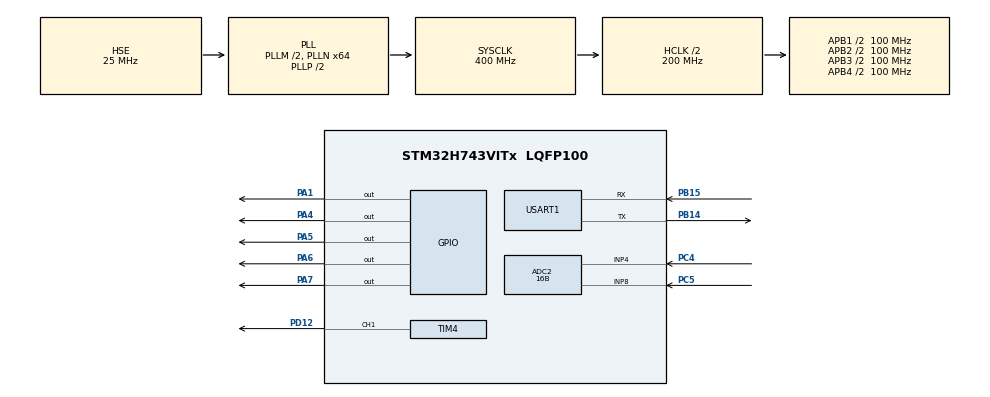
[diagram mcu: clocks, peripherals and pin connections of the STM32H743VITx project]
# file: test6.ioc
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ADC2.Channel-0\#ChannelRegularConversion=ADC_CHANNEL_4
ADC2.Channel-3\#ChannelRegularConversion=ADC_CHANNEL_8
ADC2.ClockPrescaler=ADC_CLOCK_ASYNC_DIV2
ADC2.ConversionDataManagement=ADC_CONVERSIONDATA_DMA_CIRCULAR
ADC2.EOCSelection=ADC_EOC_SEQ_CONV
ADC2.ExternalTrigConv=ADC_EXTERNALTRIG_T3_TRGO
ADC2.ExternalTrigConvEdge=ADC_EXTERNALTRIGCONVEDGE_RISINGFALLING
ADC2.NbrOfConversion=2
ADC2.NbrOfConversionFlag=1
ADC2.OffsetNumber-0\#ChannelRegularConversion=ADC_OFFSET_NONE
ADC2.OffsetNumber-3\#ChannelRegularConversion=ADC_OFFSET_NONE
ADC2.OffsetSignedSaturation-0\#ChannelRegularConversion=DISABLE
ADC2.OffsetSignedSaturation-3\#ChannelRegularConversion=DISABLE
ADC2.Rank-0\#ChannelRegularConversion=1
ADC2.Rank-3\#ChannelRegularConversion=2
ADC2.Resolution=ADC_RESOLUTION_16B
ADC2.SamplingTime-0\#ChannelRegularConversion=ADC_SAMPLETIME_2CYCLES_5
ADC2.SamplingTime-3\#ChannelRegularConversion=ADC_SAMPLETIME_2CYCLES_5
CORTEX_M7.CPU_DCache=Enabled
CORTEX_M7.CPU_ICache=Enabled
CORTEX_M7.Enable-Cortex_Memory_Protection_Unit_Region0_Settings=__NULL
CORTEX_M7.MPU_Control=MPU_PRIVILEGED_DEFAULT
Dma.ADC2.0.Direction=DMA_PERIPH_TO_MEMORY
Dma.ADC2.0.EventEnable=DISABLE
Dma.ADC2.0.FIFOMode=DMA_FIFOMODE_DISABLE
Dma.ADC2.0.Instance=DMA1_Stream0
Dma.ADC2.0.MemDataAlignment=DMA_MDATAALIGN_WORD
Dma.ADC2.0.MemInc=DMA_MINC_ENABLE
Dma.ADC2.0.Mode=DMA_CIRCULAR
Dma.ADC2.0.PeriphDataAlignment=DMA_PDATAALIGN_WORD
Dma.ADC2.0.PeriphInc=DMA_PINC_DISABLE
Dma.ADC2.0.Polarity=HAL_DMAMUX_REQ_GEN_RISING
Dma.ADC2.0.Priority=DMA_PRIORITY_LOW
Dma.ADC2.0.RequestNumber=1
Dma.ADC2.0.SignalID=NONE
Dma.ADC2.0.SyncEnable=DISABLE
Dma.ADC2.0.SyncPolarity=HAL_DMAMUX_SYNC_NO_EVENT
Dma.ADC2.0.SyncRequestNumber=1
Dma.ADC2.0.SyncSignalID=NONE
Dma.Request0=ADC2
Mcu.Family=STM32H7
Mcu.Name=STM32H743VITx
Mcu.Package=LQFP100
NVIC.ADC_IRQn=true\:0\:0\:false\:false\:true\:true\:true
NVIC.DMA1_Stream0_IRQn=true\:0\:0\:false\:false\:true\:false\:true
NVIC.PriorityGroup=NVIC_PRIORITYGROUP_4
NVIC.TIM3_IRQn=true\:0\:0\:false\:false\:true\:true\:true
NVIC.TIM4_IRQn=true\:0\:0\:false\:false\:true\:true\:true
NVIC.USART1_IRQn=true\:0\:0\:false\:false\:true\:true\:true
PA1.PinState=GPIO_PIN_RESET
PA1.Signal=GPIO_Output
PA4.Signal=GPIO_Output
PA5.Signal=GPIO_Output
PA6.Signal=GPIO_Output
PA7.Signal=GPIO_Output
PB14.Mode=Asynchronous
PB14.Signal=USART1_TX
PB15.Mode=Asynchronous
PB15.Signal=USART1_RX
PC4.Signal=ADCx_INP4
PC5.Signal=ADCx_INP8
PD12.Signal=S_TIM4_CH1
PH0-OSC_IN\ (PH0).Mode=HSE-External-Oscillator
PH0-OSC_IN\ (PH0).Signal=RCC_OSC_IN
PH1-OSC_OUT\ (PH1).Mode=HSE-External-Oscillator
PH1-OSC_OUT\ (PH1).Signal=RCC_OSC_OUT
ProjectManager.HeapSize=0x200
ProjectManager.StackSize=0x400
ProjectManager.TargetToolchain=MDK-ARM V5
RCC.ADCFreq_Value=72000000
RCC.APB1Freq_Value=100000000
RCC.APB2Freq_Value=100000000
RCC.APB3Freq_Value=100000000
RCC.APB4Freq_Value=100000000
RCC.CortexFreq_Value=400000000
RCC.D1PPRE=RCC_APB3_DIV2
RCC.D2PPRE1=RCC_APB1_DIV2
RCC.D2PPRE2=RCC_APB2_DIV2
RCC.D3PPRE=RCC_APB4_DIV2
RCC.DIVM1=2
RCC.DIVM2=25
RCC.DIVN1=64
RCC.DIVN2=504
RCC.DIVP2=7
RCC.HCLKFreq_Value=200000000
RCC.HPRE=RCC_HCLK_DIV2
RCC.PLL2FRACN=0
RCC.PLL3FRACN=0
RCC.PLLFRACN=0
RCC.PLLSourceVirtual=RCC_PLLSOURCE_HSE
RCC.PWR_Regulator_Voltage_Scale=PWR_REGULATOR_VOLTAGE_SCALE1
RCC.SYSCLKFreq_VALUE=400000000
RCC.SYSCLKSource=RCC_SYSCLKSOURCE_PLLCLK
RCC.USBFreq_Value=400000000
SH.ADCx_INP4.0=ADC2_INP4,IN4-Single-Ended
SH.ADCx_INP8.0=ADC2_INP8,IN8-Single-Ended
SH.S_TIM4_CH1.0=TIM4_CH1,PWM Generation1 CH1
TIM3.Period=99
TIM3.Prescaler=199
TIM3.TIM_MasterOutputTrigger=TIM_TRGO_UPDATE
TIM4.Channel-PWM\ Generation1\ CH1=TIM_CHANNEL_1
TIM4.Period=999
TIM4.Prescaler=199
USART1.VirtualMode-Asynchronous=VM_ASYNC
VP_TIM3_VS_ClockSourceINT.Mode=Internal
VP_TIM4_VS_ClockSourceINT.Mode=Internal
board=custom

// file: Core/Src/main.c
/* USER CODE BEGIN Header */
/**
  ******************************************************************************
  * @file           : main.c
  * @brief          : Main program body
  ******************************************************************************
  * @attention
  *
  * <h2><center>&copy; Copyright (c) 2021 STMicroelectronics.
  * All rights reserved.</center></h2>
  *
  * This software component is licensed by ST under BSD 3-Clause license,
  * the "License"; You may not use this file except in compliance with the
  * License. You may obtain a copy of the License at:
  *                        opensource.org/licenses/BSD-3-Clause
  *
  ******************************************************************************
  */
/* USER CODE END Header */
#include "main.h"
#include "adc.h"
#include "dma.h"
#include "tim.h"
#include "usart.h"
#include "gpio.h"

/* USER CODE BEGIN PTD */

/* DTCM内存的全局变量 */
uint32_t  ADC2DATA[2];

/* 内存0x38000000上的变量，给DMA搬运数据使用， */
ALIGN_32BYTES(__attribute__((section(".RAM_D3"))) uint32_t ADC2BUFF[4] );   /* 3个通道的数据 */

//#if defined ( __ICCARM__ )
//#pragma location = ".RAM_D3"
//ALIGN_32BYTES(uint32_t  ADC2DATA[2]);
//#elif defined ( __CC_ARM )
//ALIGN_32BYTES(__attribute__((section (".RAM_D3"))) uint32_t ADC2BUFF[4]);
//#endif

/* USER CODE END PTD */

void SystemClock_Config(void);
static void MPU_Config(void);

int main(void)
{
  /* USER CODE BEGIN 1 */
	uint16_t i=0;

  /* USER CODE END 1 */

  /* MPU Configuration--------------------------------------------------------*/
  MPU_Config();

  /* Enable I-Cache---------------------------------------------------------*/
  SCB_EnableICache();

  /* Enable D-Cache---------------------------------------------------------*/
  SCB_EnableDCache();

  /* MCU Configuration--------------------------------------------------------*/

  /* Reset of all peripherals, Initializes the Flash interface and the Systick. */
  HAL_Init();

  /* Configure the system clock */
  SystemClock_Config();

  /* Initialize all configured peripherals */
  MX_GPIO_Init();
  MX_DMA_Init();
  MX_ADC2_Init();
  MX_TIM3_Init();
  MX_USART1_UART_Init();
  MX_TIM4_Init();
  /* USER CODE BEGIN 2 */

	//FFTx4_init(0,1);

	AD9850_Serial_Reset();
	AD9850_Serial_Write(1000, 0x00);

	printf("AC\n");
	HAL_GPIO_WritePin(GPIOA,GPIO_PIN_1,GPIO_PIN_RESET);
	htim3.Init.Prescaler = 199;
	htim3.Init.Period = 49;
	HAL_TIM_Base_Init(&htim3);
	HAL_ADC_Start_DMA(&hadc2,(uint32_t*)ADC2BUFF,4);  /* 启动DMA搬运数据 */
  HAL_TIM_Base_Start_IT(&htim3);

	HAL_TIM_PWM_Start(&htim4,TIM_CHANNEL_1);
	__HAL_TIM_SET_COMPARE(&htim4, TIM_CHANNEL_1, 500);

  /* USER CODE END 2 */

  /* Infinite loop */
  /* USER CODE BEGIN WHILE */
  while (1)
  {
		HAL_Delay(10);
		if(myi == length){
			for(i=0;i<length;i++){
				printf("%lf\n",input[i]/65535*3.3);
			}
			//all_result_x4(input, Amp, rate, Phase,(uint32_t)(200000000/200/50));//????????????
			arm_rfft_f32_app(input, Amp, rate, Phase,(uint32_t)(200000000/200/100));
			printf("A:       F;    P\n");
		  HAL_Delay(1);
			for(i=0;i<length/2;i++){
				//printf("%.2f: %.2f: %.2f\n",Amp[i],rate[i],Phase[i]);//?????????????
				//printf("%.2lf,%.2lf,%ld\n",rate[i],(Amp[i]/65535*3.3),i);//?????????????
				HAL_Delay(1);
		  }
			myi++;
		}

    /* USER CODE END WHILE */

  }
}

void SystemClock_Config(void)
{
  RCC_OscInitTypeDef RCC_OscInitStruct = {0};
  RCC_ClkInitTypeDef RCC_ClkInitStruct = {0};

  /** Supply configuration update enable
  */
  HAL_PWREx_ConfigSupply(PWR_LDO_SUPPLY);
  /** Configure the main internal regulator output voltage
  */
  __HAL_PWR_VOLTAGESCALING_CONFIG(PWR_REGULATOR_VOLTAGE_SCALE1);

  while(!__HAL_PWR_GET_FLAG(PWR_FLAG_VOSRDY)) {}
  /** Macro to configure the PLL clock source
  */
  __HAL_RCC_PLL_PLLSOURCE_CONFIG(RCC_PLLSOURCE_HSE);
  /** Initializes the RCC Oscillators according to the specified parameters
  * in the RCC_OscInitTypeDef structure.
  */
  RCC_OscInitStruct.OscillatorType = RCC_OSCILLATORTYPE_HSE;
  RCC_OscInitStruct.HSEState = RCC_HSE_ON;
  RCC_OscInitStruct.PLL.PLLState = RCC_PLL_ON;
  RCC_OscInitStruct.PLL.PLLSource = RCC_PLLSOURCE_HSE;
  RCC_OscInitStruct.PLL.PLLM = 2;
  RCC_OscInitStruct.PLL.PLLN = 64;
  RCC_OscInitStruct.PLL.PLLP = 2;
  RCC_OscInitStruct.PLL.PLLQ = 2;
  RCC_OscInitStruct.PLL.PLLR = 2;
  RCC_OscInitStruct.PLL.PLLRGE = RCC_PLL1VCIRANGE_3;
  RCC_OscInitStruct.PLL.PLLVCOSEL = RCC_PLL1VCOWIDE;
  RCC_OscInitStruct.PLL.PLLFRACN = 0;
  if (HAL_RCC_OscConfig(&RCC_OscInitStruct) != HAL_OK)
  {
    Error_Handler();
  }
  /** Initializes the CPU, AHB and APB buses clocks
  */
  RCC_ClkInitStruct.ClockType = RCC_CLOCKTYPE_HCLK|RCC_CLOCKTYPE_SYSCLK
                              |RCC_CLOCKTYPE_PCLK1|RCC_CLOCKTYPE_PCLK2
                              |RCC_CLOCKTYPE_D3PCLK1|RCC_CLOCKTYPE_D1PCLK1;
  RCC_ClkInitStruct.SYSCLKSource = RCC_SYSCLKSOURCE_PLLCLK;
  RCC_ClkInitStruct.SYSCLKDivider = RCC_SYSCLK_DIV1;
  RCC_ClkInitStruct.AHBCLKDivider = RCC_HCLK_DIV2;
  RCC_ClkInitStruct.APB3CLKDivider = RCC_APB3_DIV2;
  RCC_ClkInitStruct.APB1CLKDivider = RCC_APB1_DIV2;
  RCC_ClkInitStruct.APB2CLKDivider = RCC_APB2_DIV2;
  RCC_ClkInitStruct.APB4CLKDivider = RCC_APB4_DIV2;

  if (HAL_RCC_ClockConfig(&RCC_ClkInitStruct, FLASH_LATENCY_2) != HAL_OK)
  {
    Error_Handler();
  }
}

/* MPU Configuration */

void MPU_Config(void)
{

  /* Disables the MPU */
  HAL_MPU_Disable();
  /* Enables the MPU */
  HAL_MPU_Enable(MPU_PRIVILEGED_DEFAULT);

}

void Error_Handler(void)
{
  __disable_irq();
  while (1)
  {
  }
}

/************************ (C) COPYRIGHT STMicroelectronics *****END OF FILE****/
